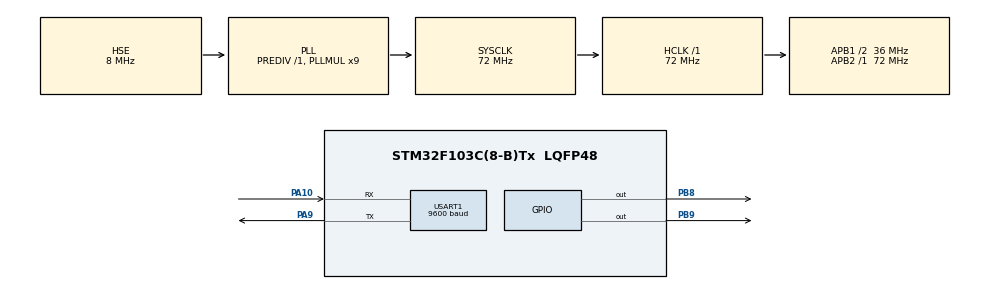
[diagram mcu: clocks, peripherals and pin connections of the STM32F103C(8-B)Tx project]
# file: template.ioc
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Dma.Request0=USART1_RX
Dma.Request1=USART1_TX
Dma.USART1_RX.0.Direction=DMA_PERIPH_TO_MEMORY
Dma.USART1_RX.0.Instance=DMA1_Channel5
Dma.USART1_RX.0.MemDataAlignment=DMA_MDATAALIGN_BYTE
Dma.USART1_RX.0.MemInc=DMA_MINC_ENABLE
Dma.USART1_RX.0.Mode=DMA_NORMAL
Dma.USART1_RX.0.PeriphDataAlignment=DMA_PDATAALIGN_BYTE
Dma.USART1_RX.0.PeriphInc=DMA_PINC_DISABLE
Dma.USART1_RX.0.Priority=DMA_PRIORITY_LOW
Dma.USART1_TX.1.Direction=DMA_MEMORY_TO_PERIPH
Dma.USART1_TX.1.Instance=DMA1_Channel4
Dma.USART1_TX.1.MemDataAlignment=DMA_MDATAALIGN_BYTE
Dma.USART1_TX.1.MemInc=DMA_MINC_ENABLE
Dma.USART1_TX.1.Mode=DMA_NORMAL
Dma.USART1_TX.1.PeriphDataAlignment=DMA_PDATAALIGN_BYTE
Dma.USART1_TX.1.PeriphInc=DMA_PINC_DISABLE
Dma.USART1_TX.1.Priority=DMA_PRIORITY_LOW
Mcu.Family=STM32F1
Mcu.Name=STM32F103C(8-B)Tx
Mcu.Package=LQFP48
NVIC.DMA1_Channel4_IRQn=true\:2\:0\:true\:false\:true\:false\:true\:true
NVIC.DMA1_Channel5_IRQn=true\:2\:0\:true\:false\:true\:false\:true\:true
NVIC.PriorityGroup=NVIC_PRIORITYGROUP_4
NVIC.TIM4_IRQn=true\:3\:0\:true\:false\:true\:true\:true\:true
NVIC.USART1_IRQn=true\:2\:0\:true\:false\:true\:true\:true\:true
PA10.Mode=Asynchronous
PA10.Signal=USART1_RX
PA13.Mode=Serial_Wire
PA13.Signal=SYS_JTMS-SWDIO
PA14.Mode=Serial_Wire
PA14.Signal=SYS_JTCK-SWCLK
PA9.Mode=Asynchronous
PA9.Signal=USART1_TX
PB8.GPIO_ModeDefaultOutputPP=GPIO_MODE_OUTPUT_OD
PB8.GPIO_PuPd=GPIO_PULLUP
PB8.GPIO_Speed=GPIO_SPEED_FREQ_MEDIUM
PB8.Signal=GPIO_Output
PB9.GPIO_ModeDefaultOutputPP=GPIO_MODE_OUTPUT_OD
PB9.GPIO_PuPd=GPIO_PULLUP
PB9.GPIO_Speed=GPIO_SPEED_FREQ_MEDIUM
PB9.Signal=GPIO_Output
PC14-OSC32_IN.Mode=LSE-External-Oscillator
PC14-OSC32_IN.Signal=RCC_OSC32_IN
PC15-OSC32_OUT.Mode=LSE-External-Oscillator
PC15-OSC32_OUT.Signal=RCC_OSC32_OUT
PD0-OSC_IN.Mode=HSE-External-Oscillator
PD0-OSC_IN.Signal=RCC_OSC_IN
PD1-OSC_OUT.Mode=HSE-External-Oscillator
PD1-OSC_OUT.Signal=RCC_OSC_OUT
ProjectManager.HeapSize=0x200
ProjectManager.StackSize=0x400
ProjectManager.TargetToolchain=MDK-ARM V5.32
RCC.AHBFreq_Value=72000000
RCC.APB1CLKDivider=RCC_HCLK_DIV2
RCC.APB1Freq_Value=36000000
RCC.APB1TimFreq_Value=72000000
RCC.APB2Freq_Value=72000000
RCC.APB2TimFreq_Value=72000000
RCC.HCLKFreq_Value=72000000
RCC.PLLMUL=RCC_PLL_MUL9
RCC.PLLSourceVirtual=RCC_PLLSOURCE_HSE
RCC.SYSCLKFreq_VALUE=72000000
RCC.SYSCLKSource=RCC_SYSCLKSOURCE_PLLCLK
RCC.USBFreq_Value=72000000
TIM4.Period=1000-1
TIM4.Prescaler=72-1
USART1.BaudRate=9600
USART1.VirtualMode=VM_ASYNC
VP_TIM4_VS_ClockSourceINT.Mode=Internal
board=custom

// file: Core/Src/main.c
/* USER CODE BEGIN Header */
/**
  ******************************************************************************
  * @file           : main.c
  * @brief          : Main program body
  ******************************************************************************
  * @attention
  *
  * Copyright (c) 2026 STMicroelectronics.
  * All rights reserved.
  *
  * This software is licensed under terms that can be found in the LICENSE file
  * in the root directory of this software component.
  * If no LICENSE file comes with this software, it is provided AS-IS.
  *
  ******************************************************************************
  */
/* USER CODE END Header */
#include "main.h"
#include "dma.h"
#include "tim.h"
#include "usart.h"
#include "gpio.h"

/* USER CODE BEGIN Includes */
#include "Int_bootloader.h"
#include "App_bootloader.h"
#include "key.h"
#include "stdio.h"
/* USER CODE END Includes */

void SystemClock_Config(void);

int main(void)
{

  /* MCU Configuration--------------------------------------------------------*/

  /* Reset of all peripherals, Initializes the Flash interface and the Systick. */
  HAL_Init();

  /* Configure the system clock */
  SystemClock_Config();

  /* Initialize all configured peripherals */
  MX_GPIO_Init();
  MX_DMA_Init();
  MX_TIM4_Init();
  MX_USART1_UART_Init();
  /* USER CODE BEGIN 2 */
  uint32_t last_dbg = 0;   // throttle for the debug log

  bootloader_init();        //底层：串口接收（DMA双缓冲）+ flash 擦写，只管收
  App_bootloader_init();    //上层：升级状态机（等待 start:len 命令）
  Key_Init();               //按键（PB12）状态机初始化，实际扫描在 TIM4 中断里做

  HAL_TIM_Base_Start_IT(&htim4);

  /* USER CODE END 2 */

  /* Infinite loop */
  while (1)
  {

    /* USER CODE BEGIN 3 */
    //============================================================
    //  按键长按"强制结束"请求的消费点
    //  TIM4 中断里只负责置 Key_Event_Flag（见 tim.c 的 HAL_TIM_PeriodElapsedCallback），
    //  这里读取并清零后再调 app 层。分成"ISR 置标志 / 主循环消费"两步，
    //  是为了避免中断和主循环同时读写 app_bootloader_state 造成竞争。
    //============================================================
    if (Key_Event_Flag)
    {
      Key_Event_Flag = 0;
      App_bootloader_force_finish();
    }

    App_bootloader_work();   //升级状态机：解析 start:len → 收帧写 flash → 校验 → 跳转

    if (HAL_GetTick() - last_dbg >= 3000)   // debug log every 3s
    {
      last_dbg = HAL_GetTick();
      printf("cnt:%u last:%u short:%u recv:%lu ore:%u\n",
             (unsigned)dbg_frame_cnt, (unsigned)dbg_last_size,
             (unsigned)dbg_short_size,
             (unsigned long)App_bootloader_recv_len(), (unsigned)dbg_ore_cnt);
    }

  }
  /* USER CODE END 3 */
}

void SystemClock_Config(void)
{
  RCC_OscInitTypeDef RCC_OscInitStruct = {0};
  RCC_ClkInitTypeDef RCC_ClkInitStruct = {0};

  /** Initializes the RCC Oscillators according to the specified parameters
  * in the RCC_OscInitTypeDef structure.
  */
  RCC_OscInitStruct.OscillatorType = RCC_OSCILLATORTYPE_HSE;
  RCC_OscInitStruct.HSEState = RCC_HSE_ON;
  RCC_OscInitStruct.HSEPredivValue = RCC_HSE_PREDIV_DIV1;
  RCC_OscInitStruct.HSIState = RCC_HSI_ON;
  RCC_OscInitStruct.PLL.PLLState = RCC_PLL_ON;
  RCC_OscInitStruct.PLL.PLLSource = RCC_PLLSOURCE_HSE;
  RCC_OscInitStruct.PLL.PLLMUL = RCC_PLL_MUL9;
  if (HAL_RCC_OscConfig(&RCC_OscInitStruct) != HAL_OK)
  {
    Error_Handler();
  }

  /** Initializes the CPU, AHB and APB buses clocks
  */
  RCC_ClkInitStruct.ClockType = RCC_CLOCKTYPE_HCLK|RCC_CLOCKTYPE_SYSCLK
                              |RCC_CLOCKTYPE_PCLK1|RCC_CLOCKTYPE_PCLK2;
  RCC_ClkInitStruct.SYSCLKSource = RCC_SYSCLKSOURCE_PLLCLK;
  RCC_ClkInitStruct.AHBCLKDivider = RCC_SYSCLK_DIV1;
  RCC_ClkInitStruct.APB1CLKDivider = RCC_HCLK_DIV2;
  RCC_ClkInitStruct.APB2CLKDivider = RCC_HCLK_DIV1;

  if (HAL_RCC_ClockConfig(&RCC_ClkInitStruct, FLASH_LATENCY_2) != HAL_OK)
  {
    Error_Handler();
  }
}

void Error_Handler(void)
{
  __disable_irq();
  while (1)
  {
  }
}
